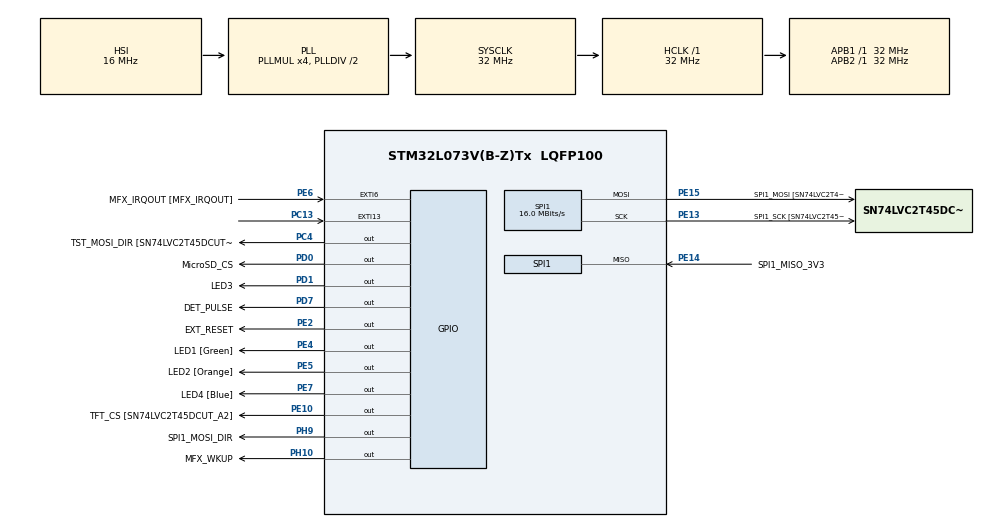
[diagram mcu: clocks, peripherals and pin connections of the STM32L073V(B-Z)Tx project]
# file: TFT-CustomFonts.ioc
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Mcu.Family=STM32L0
Mcu.Name=STM32L073V(B-Z)Tx
Mcu.Package=LQFP100
NVIC.EXTI4_15_IRQn=true\:0\:0\:false\:false\:true\:true
PA0.GPIO_Label=PRESSURE [TSZ122IST_1]
PA0.Signal=ADC_IN0
PA11.GPIO_Label=USB_DM
PA11.Signal=USB_DM
PA12.GPIO_Label=USB_DP
PA12.Signal=USB_DP
PA13.GPIO_Label=SWDIO
PA13.Signal=SYS_SWDIO
PA14.GPIO_Label=SWCLK
PA14.Signal=SYS_SWCLK
PA4.GPIO_Label=DAC OUT1
PA4.Signal=COMP_DAC1_group
PA5.GPIO_Label=ADC_IN5
PA5.Signal=ADC_IN5
PA7.GPIO_Label=DET_COMP2_OUT [TP18]
PA7.Signal=COMP2_OUT
PB3.GPIO_Label=DET_COMP2_INM
PB3.Signal=COMP2_INM
PB4.GPIO_Label=DET_COMP2_INP
PB4.Signal=COMP2_INP
PB5.GPIO_Label=TempSensor_INT [STLM75M2F_OS/INT]
PB5.Signal=I2C1_SMBA
PB6.GPIO_Label=I2C1_SCL [STLM75M2F_SCL]
PB6.Signal=I2C1_SCL
PB7.GPIO_Label=I2C1_SDA [STLM75M2F_SDA]
PB7.Signal=I2C1_SDA
PC0.GPIO_Label=DET_LPTIM_CH1 [TS862AIPT_9]
PC0.Signal=LPTIM1_IN1
PC13.Signal=GPXTI13
PC14-OSC32_IN.Signal=RCC_OSC32_IN
PC15-OSC32_OUT.Signal=RCC_OSC32_OUT
PC4.GPIO_Label=TST_MOSI_DIR [SN74LVC2T45DCUT_DIR]
PC4.Signal=GPIO_Output
PD0.GPIO_Label=MicroSD_CS
PD0.Signal=GPIO_Output
PD1.GPIO_Label=LED3
PD1.GPIO_ModeDefaultOutputPP=GPIO_MODE_OUTPUT_OD
PD1.Signal=GPIO_Output
PD11.GPIO_Label=LPUART_CTS_3V3 [ST3241EBPR_R4OUT]
PD11.Signal=LPUART1_CTS
PD12.GPIO_Label=LPUART_RTS [SN74LVC2T45DCUT_A2]
PD12.Signal=LPUART1_RTS
PD3.GPIO_Label=USART2_CTS_3V3 [ST3241EBPR_R4OUT]
PD3.Signal=USART2_CTS
PD4.GPIO_Label=USART2_RTS [N74LVC2T45DCUT_A2]
PD4.Signal=USART2_RTS
PD5.GPIO_Label=USART2_TX [N74LVC2T45DCUT_A1]
PD5.Signal=USART2_TX
PD6.GPIO_Label=USART2_RX_3V3 [ST3241EBPR_R3OUT]
PD6.Signal=USART2_RX
PD7.GPIO_Label=DET_PULSE
PD7.GPIO_ModeDefaultOutputPP=GPIO_MODE_OUTPUT_OD
PD7.Signal=GPIO_Output
PD8.GPIO_Label=LPUART_TX [SN74LVC2T45DCUT_A1]
PD8.Signal=LPUART1_TX
PD9.GPIO_Label=LPUART_RX_3V3 [ST3241EBPR_R3OUT]
PD9.Signal=LPUART1_RX
PE10.GPIO_Label=TFT_CS [SN74LVC2T45DCUT_A2]
PE10.Signal=GPIO_Output
PE13.GPIO_Label=SPI1_SCK [SN74LVC2T45DCUT_A1]
PE13.Mode=Full_Duplex_Master
PE13.Signal=SPI1_SCK
PE14.GPIO_Label=SPI1_MISO_3V3
PE14.Mode=Full_Duplex_Master
PE14.Signal=SPI1_MISO
PE15.GPIO_Label=SPI1_MOSI [SN74LVC2T45DCUT_A1]
PE15.Mode=Full_Duplex_Master
PE15.Signal=SPI1_MOSI
PE2.GPIO_Label=EXT_RESET
PE2.Signal=GPIO_Output
PE4.GPIO_Label=LED1 [Green]
PE4.GPIO_ModeDefaultOutputPP=GPIO_MODE_OUTPUT_OD
PE4.Signal=GPIO_Output
PE5.GPIO_Label=LED2 [Orange]
PE5.GPIO_ModeDefaultOutputPP=GPIO_MODE_OUTPUT_OD
PE5.Signal=GPIO_Output
PE6.GPIO_Label=MFX_IRQOUT [MFX_IRQOUT]
PE6.Signal=GPXTI6
PE7.GPIO_Label=LED4 [Blue]
PE7.GPIO_ModeDefaultOutputPP=GPIO_MODE_OUTPUT_OD
PE7.Signal=GPIO_Output
PE8.GPIO_Label=USART4_TX [SN74LVC2T45DCUT_A1]
PE8.Signal=USART4_TX
PE9.GPIO_Label=USART4_RX_3V3
PE9.Signal=USART4_RX
PH10.GPIO_Label=MFX_WKUP
PH10.Signal=GPIO_Output
PH9.GPIO_Label=SPI1_MOSI_DIR
PH9.Signal=GPIO_Output
ProjectManager.HeapSize=0x200
ProjectManager.StackSize=0x400
ProjectManager.TargetToolchain=SW4STM32
RCC.AHBFreq_Value=32000000
RCC.APB1Freq_Value=32000000
RCC.APB1TimFreq_Value=32000000
RCC.APB2Freq_Value=32000000
RCC.APB2TimFreq_Value=32000000
RCC.HCLKFreq_Value=32000000
RCC.HSE_VALUE=8000000
RCC.HSI16_VALUE=16000000
RCC.HSI48_VALUE=48000000
RCC.HSI_VALUE=16000000
RCC.LSE_VALUE=32768
RCC.MSI_VALUE=2097000
RCC.PLLMUL=RCC_PLLMUL_4
RCC.SYSCLKFreq_VALUE=32000000
RCC.SYSCLKSource=RCC_SYSCLKSOURCE_PLLCLK
RCC.VCOOutputFreq_Value=64000000
SH.COMP_DAC1_group.0=DAC_OUT1
SPI1.CalculateBaudRate=16.0 MBits/s
SPI1.Direction=SPI_DIRECTION_2LINES
SPI1.Mode=SPI_MODE_MASTER
SPI1.VirtualType=VM_MASTER
board=STM32L073Z-EVAL

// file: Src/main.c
/**
  ******************************************************************************
  * File Name          : main.c
  * Description        : Main program body
  ******************************************************************************
  ** This notice applies to any and all portions of this file
  * that are not between comment pairs USER CODE BEGIN and
  * USER CODE END. Other portions of this file, whether
  * inserted by the user or by software development tools
  * are owned by their respective copyright owners.
  *
  * COPYRIGHT(c) 2018 STMicroelectronics
  *
  * Redistribution and use in source and binary forms, with or without modification,
  * are permitted provided that the following conditions are met:
  *   1. Redistributions of source code must retain the above copyright notice,
  *      this list of conditions and the following disclaimer.
  *   2. Redistributions in binary form must reproduce the above copyright notice,
  *      this list of conditions and the following disclaimer in the documentation
  *      and/or other materials provided with the distribution.
  *   3. Neither the name of STMicroelectronics nor the names of its contributors
  *      may be used to endorse or promote products derived from this software
  *      without specific prior written permission.
  *
  * THIS SOFTWARE IS PROVIDED BY THE COPYRIGHT HOLDERS AND CONTRIBUTORS "AS IS"
  * AND ANY EXPRESS OR IMPLIED WARRANTIES, INCLUDING, BUT NOT LIMITED TO, THE
  * IMPLIED WARRANTIES OF MERCHANTABILITY AND FITNESS FOR A PARTICULAR PURPOSE ARE
  * DISCLAIMED. IN NO EVENT SHALL THE COPYRIGHT HOLDER OR CONTRIBUTORS BE LIABLE
  * FOR ANY DIRECT, INDIRECT, INCIDENTAL, SPECIAL, EXEMPLARY, OR CONSEQUENTIAL
  * DAMAGES (INCLUDING, BUT NOT LIMITED TO, PROCUREMENT OF SUBSTITUTE GOODS OR
  * SERVICES; LOSS OF USE, DATA, OR PROFITS; OR BUSINESS INTERRUPTION) HOWEVER
  * CAUSED AND ON ANY THEORY OF LIABILITY, WHETHER IN CONTRACT, STRICT LIABILITY,
  * OR TORT (INCLUDING NEGLIGENCE OR OTHERWISE) ARISING IN ANY WAY OUT OF THE USE
  * OF THIS SOFTWARE, EVEN IF ADVISED OF THE POSSIBILITY OF SUCH DAMAGE.
  *
  ******************************************************************************
  */

#include "main.h"
#include "stm32l0xx_hal.h"
#include "spi.h"
#include "gpio.h"

/* USER CODE BEGIN Includes */
#include "stm32l073z_eval_lcd.h"
#include "FontHeitiTC32.h"
#include "FontHeitiTC24.h"
#include "FontAvenirNext20.h"
#include "FontMenlo32.h"
/* USER CODE END Includes */

/* USER CODE BEGIN PV */
/* Private variables ---------------------------------------------------------*/

/* USER CODE END PV */

void SystemClock_Config(void);

/* USER CODE BEGIN PFP */
/* Private function prototypes -----------------------------------------------*/

/* USER CODE END PFP */

int main(void)
{

  /* MCU Configuration----------------------------------------------------------*/

  /* Reset of all peripherals, Initializes the Flash interface and the Systick. */
  HAL_Init();

  /* Configure the system clock */
  SystemClock_Config();

  /* Initialize all configured peripherals */
  MX_GPIO_Init();
  MX_SPI1_Init();

  /* USER CODE BEGIN 2 */

  BSP_LED_Init(LED1);
  BSP_LED_Init(LED2);
  BSP_LED_Init(LED3);
  BSP_LED_Init(LED4);

  BSP_LCD_Init();
  BSP_LCD_Clear(LCD_COLOR_BLACK);
  BSP_LCD_SetBackColor(LCD_COLOR_BLACK);

  BSP_LCD_SetTextColor(LCD_COLOR_WHITE);
  //BSP_LCD_DisplayStringAtLine(0, "ABCDEFGHIJKL");
  //BSP_LCD_DisplayStringAt(0, LINE(5), "0123456789", CENTER_MODE);

  BSP_LCD_SetFont(&FontMenlo32);
  BSP_LCD_DisplayStringAt(0, 0, FontMenlo32_Name, LEFT_MODE);

  BSP_LCD_SetFont(&FontAvenirNext20);
  BSP_LCD_DisplayStringAt(0, 40, FontAvenirNext20_Name, LEFT_MODE);

  BSP_LCD_SetFont(&FontHeitiTC32);
  BSP_LCD_DisplayStringAt(0, 100 + 32, ":;<=!", CENTER_MODE);
  BSP_LCD_SetFont(&FontHeitiTC24);
  BSP_LCD_DisplayStringAt(0, 100 + 64 + 10, "[\\]^", CENTER_MODE);

  /* USER CODE END 2 */

  /* Infinite loop */
  /* USER CODE BEGIN WHILE */
  while (1) {
      BSP_LED_Toggle(LED1);
      HAL_Delay(200);
  }
  /* USER CODE END WHILE */

}

/** System Clock Configuration
*/
void SystemClock_Config(void)
{

  RCC_OscInitTypeDef RCC_OscInitStruct;
  RCC_ClkInitTypeDef RCC_ClkInitStruct;

    /**Configure the main internal regulator output voltage
    */
  __HAL_PWR_VOLTAGESCALING_CONFIG(PWR_REGULATOR_VOLTAGE_SCALE1);

    /**Initializes the CPU, AHB and APB busses clocks
    */
  RCC_OscInitStruct.OscillatorType = RCC_OSCILLATORTYPE_HSI;
  RCC_OscInitStruct.HSIState = RCC_HSI_ON;
  RCC_OscInitStruct.HSICalibrationValue = 16;
  RCC_OscInitStruct.PLL.PLLState = RCC_PLL_ON;
  RCC_OscInitStruct.PLL.PLLSource = RCC_PLLSOURCE_HSI;
  RCC_OscInitStruct.PLL.PLLMUL = RCC_PLLMUL_4;
  RCC_OscInitStruct.PLL.PLLDIV = RCC_PLLDIV_2;
  if (HAL_RCC_OscConfig(&RCC_OscInitStruct) != HAL_OK)
  {
    _Error_Handler(__FILE__, __LINE__);
  }

    /**Initializes the CPU, AHB and APB busses clocks
    */
  RCC_ClkInitStruct.ClockType = RCC_CLOCKTYPE_HCLK|RCC_CLOCKTYPE_SYSCLK
                              |RCC_CLOCKTYPE_PCLK1|RCC_CLOCKTYPE_PCLK2;
  RCC_ClkInitStruct.SYSCLKSource = RCC_SYSCLKSOURCE_PLLCLK;
  RCC_ClkInitStruct.AHBCLKDivider = RCC_SYSCLK_DIV1;
  RCC_ClkInitStruct.APB1CLKDivider = RCC_HCLK_DIV1;
  RCC_ClkInitStruct.APB2CLKDivider = RCC_HCLK_DIV1;

  if (HAL_RCC_ClockConfig(&RCC_ClkInitStruct, FLASH_LATENCY_1) != HAL_OK)
  {
    _Error_Handler(__FILE__, __LINE__);
  }

    /**Configure the Systick interrupt time
    */
  HAL_SYSTICK_Config(HAL_RCC_GetHCLKFreq()/1000);

    /**Configure the Systick
    */
  HAL_SYSTICK_CLKSourceConfig(SYSTICK_CLKSOURCE_HCLK);

  /* SysTick_IRQn interrupt configuration */
  HAL_NVIC_SetPriority(SysTick_IRQn, 0, 0);
}

void _Error_Handler(char * file, int line)
{
  /* USER CODE BEGIN Error_Handler_Debug */
  /* User can add his own implementation to report the HAL error return state */
  while(1)
  {
      BSP_LED_Toggle(LED2);
  }
  /* USER CODE END Error_Handler_Debug */
}

/************************ (C) COPYRIGHT STMicroelectronics *****END OF FILE****/
